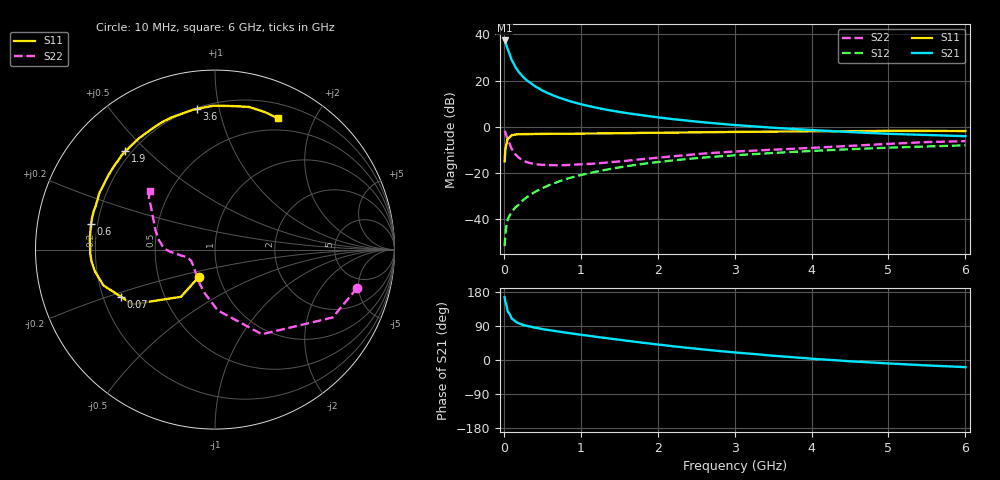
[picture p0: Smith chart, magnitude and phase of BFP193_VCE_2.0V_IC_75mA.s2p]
! Infineon Technologies  Discrete & RF Semiconductors
! BFP193
! VCE =  2.0 V,  IC =  75 mA
! Common Emitter S-Parameters:  Jan 2017
# GHz  S  MA  R  50
!  f  S11  S21  S12  S22
! GHz  MAG  ANG  MAG  ANG  MAG  ANG  MAG  ANG
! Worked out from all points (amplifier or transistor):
!   77 points, 10 MHz to 6 GHz, reference 50 ohm
!   highest |S21| = 37.4 dB at 10 MHz (marker M1)
!   |S21| within 3 dB of that: start of sweep to 41.8 MHz
!   unconditionally stable (mu >= 1): 282 MHz to 2.708 GHz
!   at 130 MHz: K = 0.79, MSG = 31.5 dB, |S12| = -35.7 dB
!   at 2.2 GHz: K = 1.02, MAG = 8.0 dB, |S12| = -14.6 dB
!   at 6 GHz: K = 0.97, MSG = 2.0 dB, |S12| = -8.0 dB
!   S11 on the Smith chart (normalised r, x): 10 MHz: 0.80, -0.25; 70 MHz: 0.27, -0.22; 600 MHz: 0.17, +0.10; 1.9 GHz: 0.18, +0.43; 3.6 GHz: 0.21, +0.86; 6 GHz: 0.36, +1.53
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0.01  0.179 -120.8  74.19 166.0  0.0026 78.1  0.8201 -15.1
0.02  0.3242 -125.8  69.25 153.4  0.0048 74.5  0.7567 -30.0
0.05  0.5512 -146.4  47.8 127.8  0.01 60.1  0.5392 -61.0
0.07  0.5864 -153.4  39.64 122.7  0.0116 59.7  0.449 -68.7
0.1  0.6533 -162.3  28.41 109.7  0.014 59.3  0.3389 -87.4
0.15  0.6809 -170.0  19.68 101.5  0.018 59.9  0.2526 -102.5
0.2  0.6909 -174.5  14.98 96.4  0.021 64.8  0.2106 -113.5
0.25  0.6956 -178.1  12.07 92.6  0.0259 65.6  0.1861 -121.3
0.3  0.6955 179.4  10.09 90.0  0.0299 67.7  0.171 -128.4
0.4  0.6998 175.0  7.626 85.4  0.0385 70.2  0.1561 -137.6
0.5  0.7019 171.3  6.109 81.7  0.0468 70.5  0.1499 -144.5
0.6  0.7057 168.2  5.116 78.4  0.0556 70.7  0.1483 -149.6
0.8  0.7087 162.3  3.85 72.3  0.0732 70.1  0.1479 -156.0
1.1  0.7174 153.8  2.828 64.0  0.0987 67.0  0.1572 -162.4
1.5  0.7263 143.0  2.101 53.5  0.1324 62.2  0.178 -168.2
1.9  0.7413 132.4  1.686 43.5  0.1645 56.8  0.2063 -172.4
2.1  0.7459 127.3  1.533 38.7  0.1795 53.9  0.2222 -174.4
3.1  0.7765 106.0  1.065 18.3  0.2472 40.4  0.2971 175.0
3.6  0.7905 97.2  0.933 9.8  0.277 34.3  0.325 168.0
4.1  0.8012 89.2  0.835 2.1  0.3054 28.1  0.3566 159.8
5.1  0.8158 75.4  0.698 -10.1  0.3574 16.1  0.4348 145.5
6  0.8109 64.4  0.626 -18.8  0.3971 5.9  0.4892 138.1
